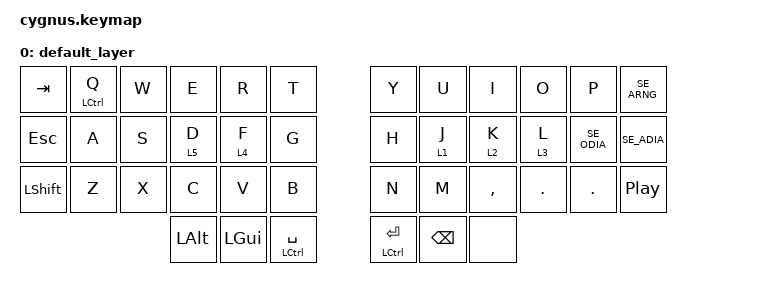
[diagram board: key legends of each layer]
/*
 * Copyright (c) 2023 The ZMK Contributors
 *
 * SPDX-License-Identifier: MIT
 */

#include <behaviors.dtsi>
#include <dt-bindings/zmk/keys.h>
#include <dt-bindings/zmk/bt.h>
#include <dt-bindings/zmk/outputs.h>
#include <dt-bindings/zmk/reset.h>
#include "boards/shields/cygnus/keys_se.h"

#define BASE 0
#define BRACKETS 1
#define QUOTES 2
#define SYMBOLS 3
#define ARROWS 4
#define NUMBERS 5

/ {
    behaviors {
        hm: homerow_mods {
            compatible = "zmk,behavior-hold-tap";
            label = "HOMEROW_MODS";
            #binding-cells = <2>;
            tapping-term-ms = <200>;
            quick-tap-ms = <0>;
            flavor = "tap-preferred";
            bindings = <&kp>, <&kp>;
        };
    };

    combos {
        compatible = "zmk,combos";
        combo_bootloader_left {
            timeout-ms = <50>;
            key-positions = <0 16 4>; // TAB + SHIFT + F
            bindings = <&bootloader>;
            layers = <0>;
        };
        
        combo_bootloader_right {
            timeout-ms = <50>;
            key-positions = <19 35 11>; // J + MEDIA PLAY + Å
            bindings = <&bootloader>;
            layers = <0>;
        };
        
        combo_reset_keyboard {
            timeout-ms = <50>;
            key-positions = <1 13 25>; // Q + A + Z
            bindings = <&sys_reset>;
            layers = <0>;
        };
        
        combo_bt_clear {
            timeout-ms = <50>;
            key-positions = <2 14 26>; // W + S + X
            bindings = <&bt BT_CLR>;
            layers = <0>;
        };
    };

    keymap {
        compatible = "zmk,keymap";

        default_layer {
            // ┌─────┬─────┬─────┬─────┬─────┬─────┐   ┌─────┬─────┬─────┬─────┬─────┬─────┐
            // │ TAB │CTRL+│  W  │  E  │  R  │  T  │   │  Y  │  U  │  I  │  O  │  P  │  Å  │
            // │     │  Q  │     │     │     │     │   │     │     │     │     │     │     │
            // ├─────┼─────┼─────┼─────┼─────┼─────┤   ├─────┼─────┼─────┼─────┼─────┼─────┤
            // │ ESC │  A  │  S  │  D  │  F  │  G  │   │  H  │  J  │  K  │  L  │  Ö  │  Ä  │
            // │     │     │     │NUM  │ARROW│     │   │     │BRACKT│QUOT │SYMBL│     │     │
            // ├─────┼─────┼─────┼─────┼─────┼─────┤   ├─────┼─────┼─────┼─────┼─────┼─────┤
            // │SHIFT│  Z  │  X  │  C  │  V  │  B  │   │  N  │  M  │  ,  │  .  │  .  │MEDIA│
            // │     │     │     │     │     │     │   │     │     │     │     │     │PLAY │
            // └─────┴─────┴─────┼─────┼─────┼─────┤   ├─────┼─────┼─────┼─────┴─────┴─────┘
            //                   │ ALT │ GUI │CTRL │   │CTRL │BKSPC│     │
            //                   │     │     │SPACE│   │ENTER│     │     │
            //                   └─────┴─────┴─────┘   └─────┴─────┴─────┘

            bindings = <
                &kp TAB     &hm LCTRL Q   &kp W   &kp E       &kp R       &kp T       &kp Y   &kp U       &kp I       &kp O       &kp P   &kp SE_ARNG
                &kp ESC     &kp A         &kp S   &lt 5 D     &lt 4 F     &kp G       &kp H   &lt 1 J     &lt 2 K     &lt 3 L     &kp SE_ODIA &kp SE_ADIA
                &kp LSHFT   &kp Z         &kp X   &kp C       &kp V       &kp B       &kp N   &kp M       &kp COMMA   &kp DOT     &kp DOT &kp C_PP
                                                  &kp LALT    &kp LGUI    &hm LCTRL SPACE     &hm LCTRL RET &kp BSPC  &none
            >;
        };
    };
}; 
